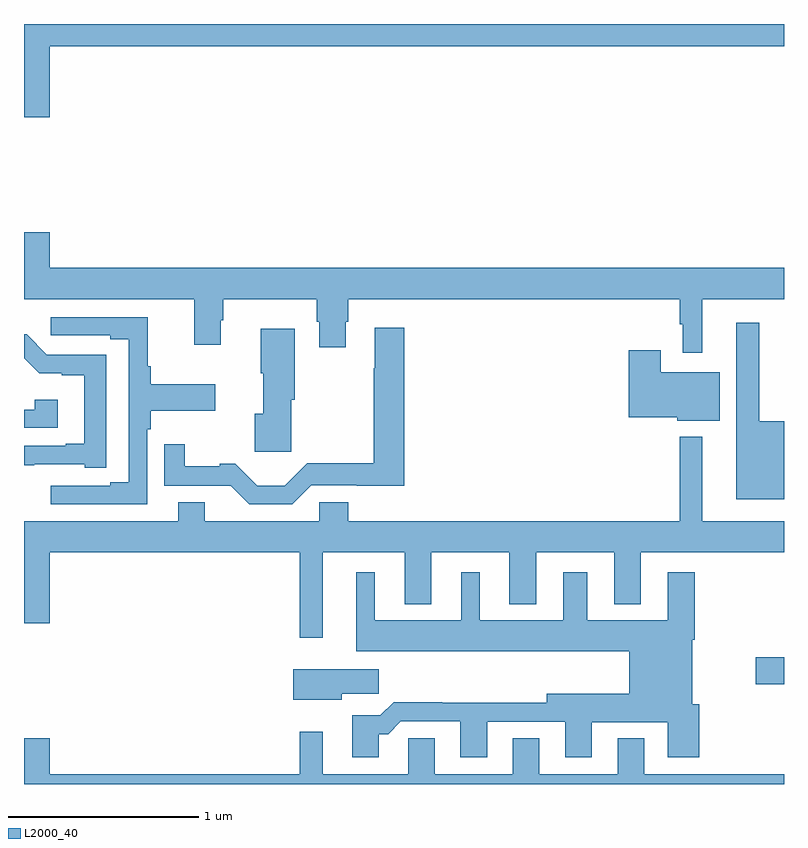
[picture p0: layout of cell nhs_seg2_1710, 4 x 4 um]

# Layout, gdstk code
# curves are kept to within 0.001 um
import gdstk
lib = gdstk.Library(unit=1e-6, precision=1e-09)
def R(c, l, rs):  # rectangles x0, y0, x1, y1
    for r in rs: c.add(gdstk.rectangle(r[:2], r[2:], *l))
def P(c, l, *ps):  # polygons
    for p in ps: c.add(gdstk.Polygon(p, *l))
L2000_40 = (2000, 40)

nhs_seg2_1710 = lib.new_cell('nhs_seg2_1710')
R(nhs_seg2_1710, L2000_40, [(204.852,596.326,205,596.468)])
P(nhs_seg2_1710, L2000_40, [(201.136,599.684),(205,599.684),(205,599.8),(201,599.8),(201,599.31),(201.136,599.31)],
  [(204.571,598.352),(205,598.352),(205,598.516),(201.136,598.516),(201.136,598.705),(201,598.705),(201,598.352),(201.896,598.352),(201.896,598.113),(202.036,598.113),(202.036,598.241),(202.049,598.241),(202.049,598.352),(202.541,598.352),(202.541,598.233),(202.553,598.233),(202.553,598.098),(202.693,598.098),(202.693,598.233),(202.706,598.233),(202.706,598.352),(204.45,598.352),(204.45,598.22),(204.467,598.22),(204.467,598.071),(204.571,598.071)],
  [(201.648,597.668),(201.668,597.668),(201.668,597.764),(202.006,597.764),(202.006,597.904),(201.668,597.904),(201.668,598),(201.651,598),(201.651,598.257),(201.141,598.257),(201.141,598.161),(201.455,598.161),(201.455,598.141),(201.552,598.141),(201.552,597.387),(201.455,597.387),(201.455,597.369),(201.141,597.369),(201.141,597.273),(201.648,597.273)],
  [(205,597.709),(204.871,597.709),(204.871,598.228),(204.749,598.228),(204.749,597.299),(205,597.299)],
  [(202.512,597.372),(203,597.371),(203,598.201),(202.847,598.201),(202.847,597.988),(202.84,597.988),(202.84,597.488),(202.49,597.488),(202.372,597.37),(202.227,597.37),(202.112,597.485),(202.031,597.485),(202.031,597.473),(201.847,597.473),(201.847,597.589),(201.738,597.589),(201.738,597.371),(202.088,597.371),(202.185,597.273),(202.413,597.273)],
  [(202.407,597.822),(202.425,597.822),(202.425,598.195),(202.247,598.195),(202.247,597.962),(202.259,597.962),(202.259,597.749),(202.214,597.749),(202.214,597.548),(202.407,597.548)],
  [(201.433,598.059),(201.12,598.059),(201.014,598.166),(201,598.166),(201,598.041),(201.079,597.962),(201.198,597.962),(201.198,597.951),(201.317,597.951),(201.317,597.592),(201.221,597.592),(201.221,597.579),(201,597.579),(201,597.478),(201.053,597.478),(201.053,597.483),(201.321,597.483),(201.321,597.465),(201.433,597.465)],
  [(204.661,597.967),(204.352,597.967),(204.352,598.084),(204.182,598.084),(204.182,597.731),(204.438,597.731),(204.438,597.713),(204.661,597.713)],
  [(201.178,597.823),(201.057,597.823),(201.057,597.771),(201,597.771),(201,597.675),(201.178,597.675)],
  [(202.573,597.02),(203.003,597.02),(203.003,596.747),(203.143,596.747),(203.143,597.02),(203.555,597.02),(203.555,596.747),(203.695,596.747),(203.695,597.02),(204.107,597.02),(204.107,596.747),(204.247,596.747),(204.247,597.02),(205,597.02),(205,597.184),(204.571,597.184),(204.571,597.628),(204.45,597.628),(204.45,597.184),(202.706,597.184),(202.706,597.282),(202.554,597.282),(202.554,597.184),(201.952,597.184),(201.952,597.283),(201.812,597.283),(201.812,597.184),(201,597.184),(201,596.646),(201.136,596.646),(201.136,597.02),(202.452,597.02),(202.452,596.571),(202.573,596.571)],
  [(202.867,596.063),(202.916,596.063),(202.983,596.13),(203.297,596.13),(203.297,595.941),(203.437,595.941),(203.437,596.127),(203.849,596.127),(203.849,595.941),(203.989,595.941),(203.989,596.126),(204.389,596.126),(204.389,595.941),(204.554,595.941),(204.554,596.22),(204.517,596.22),(204.517,596.558),(204.53,596.558),(204.53,596.914),(204.389,596.914),(204.389,596.662),(203.965,596.662),(203.965,596.914),(203.837,596.914),(203.837,596.662),(203.398,596.662),(203.398,596.914),(203.3,596.914),(203.3,596.662),(202.846,596.662),(202.846,596.914),(202.748,596.914),(202.748,596.498),(204.185,596.498),(204.185,596.275),(203.75,596.275),(203.75,596.228),(203.201,596.228),(203.201,596.231),(202.946,596.231),(202.876,596.161),(202.727,596.161),(202.727,595.941),(202.867,595.941)],
  [(202.672,596.275),(202.867,596.275),(202.867,596.404),(202.418,596.404),(202.418,596.243),(202.672,596.243)],
  [(205,595.852),(204.265,595.852),(204.265,596.041),(204.125,596.041),(204.125,595.852),(203.713,595.852),(203.713,596.042),(203.573,596.042),(203.573,595.852),(203.161,595.852),(203.161,596.042),(203.022,596.042),(203.022,595.852),(202.573,595.852),(202.573,596.074),(202.452,596.074),(202.452,595.852),(201.136,595.852),(201.136,596.041),(201,596.041),(201,595.8),(205,595.8)])

lib.write_gds('nhs_seg2_1710.gds')
